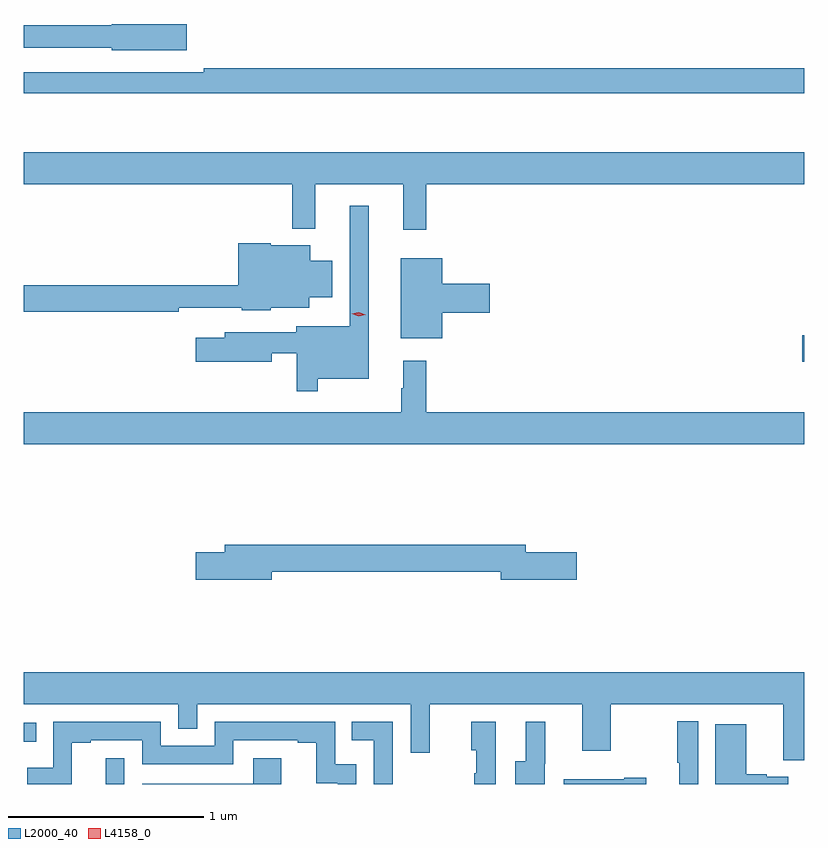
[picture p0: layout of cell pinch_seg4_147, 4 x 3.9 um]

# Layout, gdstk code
import gdstk
lib = gdstk.Library(unit=1e-6, precision=1e-09)
def R(c, l, rs):  # rectangles x0, y0, x1, y1
    for r in rs: c.add(gdstk.rectangle(r[:2], r[2:], *l))
def P(c, l, *ps):  # polygons
    for p in ps: c.add(gdstk.Polygon(p, *l))
L2000_40 = (2000, 40)
L4158_0 = (4158, 0)

pinch_seg4_147 = lib.new_cell('pinch_seg4_147')
R(pinch_seg4_147, L2000_40, [(1105.709,805.735,1105.806,805.867), (1105.29,805.952,1105.355,806.049), (1109.28,807.899,1109.29,808.034)])
P(pinch_seg4_147, L2000_40, [(1106.125,809.63),(1105.74,809.63),(1105.74,809.624),(1105.29,809.624),(1105.29,809.508),(1105.74,809.508),(1105.74,809.495),(1106.125,809.495)],
  [(1109.29,809.402),(1106.212,809.402),(1106.212,809.382),(1105.29,809.382),(1105.29,809.274),(1109.29,809.274)],
  [(1107.353,808.808),(1109.29,808.808),(1109.29,808.972),(1105.29,808.972),(1105.29,808.808),(1106.665,808.808),(1106.665,808.58),(1106.783,808.58),(1106.783,808.808),(1107.236,808.808),(1107.236,808.575),(1107.353,808.575)],
  [(1106.797,807.812),(1107.058,807.812),(1107.058,808.699),(1106.961,808.699),(1106.961,808.081),(1106.687,808.081),(1106.687,808.05),(1106.321,808.05),(1106.321,808.021),(1106.172,808.021),(1106.172,807.899),(1106.56,807.899),(1106.56,807.942),(1106.688,807.942),(1106.688,807.747),(1106.797,807.747)],
  [(1106.084,808.176),(1106.406,808.176),(1106.406,808.163),(1106.556,808.163),(1106.556,808.175),(1106.752,808.175),(1106.752,808.229),(1106.872,808.229),(1106.872,808.417),(1106.758,808.417),(1106.758,808.495),(1106.556,808.495),(1106.556,808.507),(1106.39,808.507),(1106.39,808.292),(1105.29,808.292),(1105.29,808.156),(1106.084,808.156)],
  [(1107.436,808.151),(1107.679,808.151),(1107.679,808.298),(1107.436,808.298),(1107.436,808.429),(1107.221,808.429),(1107.221,808.019),(1107.436,808.019)],
  [(1109.29,807.64),(1107.353,807.64),(1107.353,807.904),(1107.236,807.904),(1107.236,807.764),(1107.225,807.764),(1107.225,807.64),(1105.29,807.64),(1105.29,807.476),(1109.29,807.476)],
  [(1106.56,806.824),(1107.734,806.824),(1107.734,806.782),(1108.123,806.782),(1108.123,806.924),(1107.862,806.924),(1107.862,806.96),(1106.321,806.96),(1106.321,806.924),(1106.172,806.924),(1106.172,806.782),(1106.56,806.782)],
  [(1109.29,806.308),(1105.29,806.308),(1105.29,806.144),(1106.082,806.144),(1106.082,806.017),(1106.178,806.017),(1106.178,806.144),(1107.273,806.144),(1107.273,805.896),(1107.371,805.896),(1107.371,806.144),(1108.151,806.144),(1108.151,805.905),(1108.299,805.905),(1108.299,806.144),(1109.183,806.144),(1109.183,805.858),(1109.29,805.858)],
  [(1108.746,806.056),(1108.638,806.056),(1108.638,805.843),(1108.649,805.843),(1108.649,805.735),(1108.746,805.735)],
  [(1105.537,805.947),(1105.633,805.947),(1105.633,805.959),(1105.896,805.959),(1105.896,805.836),(1106.364,805.836),(1106.364,805.959),(1106.693,805.959),(1106.693,805.947),(1106.789,805.947),(1106.789,805.739),(1106.898,805.739),(1106.898,805.735),(1106.994,805.735),(1106.994,805.836),(1106.886,805.836),(1106.886,806.055),(1106.268,806.055),(1106.268,805.932),(1105.992,805.932),(1105.992,806.055),(1105.44,806.055),(1105.44,805.819),(1105.308,805.819),(1105.308,805.735),(1105.537,805.735)],
  [(1107.18,806.055),(1106.971,806.055),(1106.971,805.959),(1107.084,805.959),(1107.084,805.735),(1107.18,805.735)],
  [(1107.96,805.839),(1107.962,805.839),(1107.962,806.053),(1107.863,806.053),(1107.863,805.851),(1107.809,805.851),(1107.809,805.735),(1107.96,805.735)],
  [(1107.708,806.053),(1107.584,806.053),(1107.584,805.908),(1107.61,805.908),(1107.61,805.79),(1107.6,805.79),(1107.6,805.735),(1107.708,805.735)],
  [(1109.208,805.773),(1109.097,805.773),(1109.097,805.786),(1108.993,805.786),(1108.993,806.041),(1108.835,806.041),(1108.835,805.735),(1109.208,805.735)],
  [(1106.609,805.867),(1106.465,805.867),(1106.465,805.737),(1105.896,805.737),(1105.896,805.735),(1106.609,805.735)],
  [(1108.48,805.767),(1108.367,805.767),(1108.367,805.759),(1108.057,805.759),(1108.057,805.735),(1108.48,805.735)])
P(pinch_seg4_147, L4158_0, [(1107.006,808.132),(1106.972,808.144),(1106.971,808.144),(1106.972,808.144),(1107.007,808.152),(1107.042,808.141),(1107.042,808.141),(1107.042,808.141)])

lib.write_gds('pinch_seg4_147.gds')
